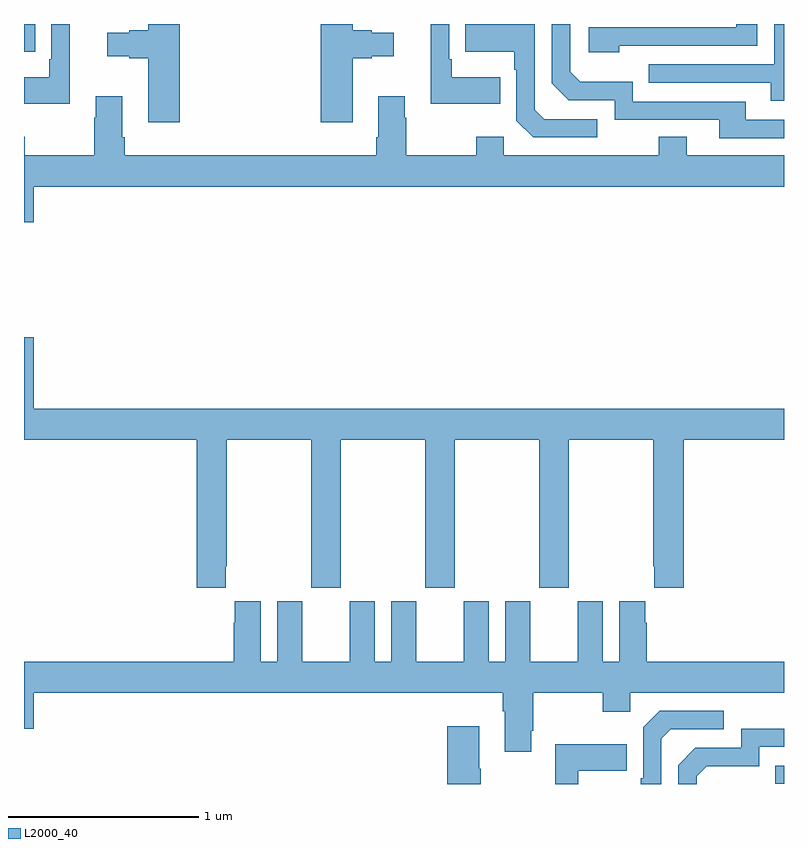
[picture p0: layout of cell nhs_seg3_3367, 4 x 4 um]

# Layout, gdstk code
import gdstk
lib = gdstk.Library(unit=1e-6, precision=1e-09)
def R(c, l, rs):  # rectangles x0, y0, x1, y1
    for r in rs: c.add(gdstk.rectangle(r[:2], r[2:], *l))
def P(c, l, *ps):  # polygons
    for p in ps: c.add(gdstk.Polygon(p, *l))
L2000_40 = (2000, 40)

nhs_seg3_3367 = lib.new_cell('nhs_seg3_3367')
R(nhs_seg3_3367, L2000_40, [(288.955,736.401,289,736.497), (285,740.255,285.059,740.4)])
P(nhs_seg3_3367, L2000_40, [(287.507,740.119),(287.251,740.119),(287.251,740.215),(287.238,740.215),(287.238,740.4),(287.141,740.4),(287.141,739.979),(287.507,739.979)],
  [(289,740.4),(288.948,740.4),(288.948,740.187),(288.289,740.187),(288.289,740.091),(288.929,740.091),(288.929,739.997),(289,739.997)],
  [(288.134,740.286),(288.858,740.286),(288.858,740.4),(288.749,740.4),(288.749,740.382),(287.973,740.382),(287.973,740.252),(288.134,740.252)],
  [(289,739.896),(288.799,739.896),(288.799,739.992),(288.204,739.992),(288.204,740.095),(287.927,740.095),(287.874,740.148),(287.874,740.4),(287.778,740.4),(287.778,740.088),(287.868,739.998),(288.108,739.998),(288.108,739.896),(288.659,739.896),(288.659,739.8),(289,739.8)],
  [(286.729,740.219),(286.829,740.219),(286.829,740.231),(286.945,740.231),(286.945,740.353),(286.829,740.353),(286.829,740.366),(286.729,740.366),(286.729,740.4),(286.562,740.4),(286.562,739.884),(286.729,739.884)],
  [(285.242,740.4),(285.144,740.4),(285.144,740.215),(285.132,740.215),(285.132,740.119),(285,740.119),(285,739.979),(285.242,739.979)],
  [(285.821,740.4),(285.653,740.4),(285.653,740.366),(285.554,740.366),(285.554,740.353),(285.438,740.353),(285.438,740.231),(285.554,740.231),(285.554,740.219),(285.653,740.219),(285.653,739.884),(285.821,739.884)],
  [(288.016,739.899),(287.739,739.899),(287.688,739.95),(287.688,740.4),(287.323,740.4),(287.323,740.255),(287.58,740.255),(287.58,740.159),(287.592,740.159),(287.592,739.89),(287.679,739.803),(288.016,739.803)],
  [(285.052,739.544),(289,739.544),(289,739.708),(288.487,739.708),(288.487,739.807),(288.34,739.807),(288.34,739.708),(287.526,739.708),(287.526,739.807),(287.38,739.807),(287.38,739.708),(287.013,739.708),(287.013,739.907),(287.005,739.907),(287.005,740.02),(286.865,740.02),(286.865,739.804),(286.853,739.804),(286.853,739.708),(285.53,739.708),(285.53,739.804),(285.517,739.804),(285.517,740.02),(285.377,740.02),(285.377,739.907),(285.37,739.907),(285.37,739.708),(285.003,739.708),(285.003,739.807),(285,739.807),(285,739.356),(285.052,739.356)],
  [(286.063,737.545),(286.068,737.545),(286.068,738.212),(286.513,738.212),(286.513,737.433),(286.668,737.433),(286.668,738.212),(287.113,738.212),(287.113,737.433),(287.268,737.433),(287.268,738.212),(287.713,738.212),(287.713,737.433),(287.868,737.433),(287.868,738.212),(288.313,738.212),(288.313,737.545),(288.317,737.545),(288.317,737.433),(288.473,737.433),(288.473,738.212),(289,738.212),(289,738.376),(285.052,738.376),(285.052,738.751),(285,738.751),(285,738.212),(285.908,738.212),(285.908,737.433),(286.063,737.433)],
  [(287.519,736.784),(287.531,736.784),(287.531,736.569),(287.671,736.569),(287.671,736.681),(287.679,736.681),(287.679,736.88),(288.046,736.88),(288.046,736.781),(288.192,736.781),(288.192,736.88),(289,736.88),(289,737.044),(288.278,737.044),(288.278,737.249),(288.271,737.249),(288.271,737.362),(288.134,737.362),(288.134,737.044),(288.046,737.044),(288.046,737.362),(287.915,737.362),(287.915,737.044),(287.665,737.044),(287.665,737.362),(287.534,737.362),(287.534,737.044),(287.446,737.044),(287.446,737.362),(287.315,737.362),(287.315,737.044),(287.065,737.044),(287.065,737.362),(286.934,737.362),(286.934,737.044),(286.846,737.044),(286.846,737.362),(286.715,737.362),(286.715,737.044),(286.465,737.044),(286.465,737.362),(286.334,737.362),(286.334,737.044),(286.246,737.044),(286.246,737.362),(286.109,737.362),(286.109,737.249),(286.103,737.249),(286.103,737.044),(285,737.044),(285,736.692),(285.052,736.692),(285.052,736.88),(287.519,736.88)],
  [(288.354,736.638),(288.405,736.689),(288.682,736.689),(288.682,736.785),(288.345,736.785),(288.258,736.698),(288.258,736.429),(288.246,736.429),(288.246,736.4),(288.354,736.4)],
  [(287.403,736.481),(287.395,736.481),(287.395,736.705),(287.228,736.705),(287.228,736.4),(287.403,736.4)],
  [(288.54,736.44),(288.593,736.493),(288.87,736.493),(288.87,736.596),(289,736.596),(289,736.692),(288.774,736.692),(288.774,736.59),(288.534,736.59),(288.444,736.5),(288.444,736.4),(288.54,736.4)],
  [(287.917,736.469),(288.173,736.469),(288.173,736.609),(287.796,736.609),(287.796,736.4),(287.917,736.4)])

lib.write_gds('nhs_seg3_3367.gds')
